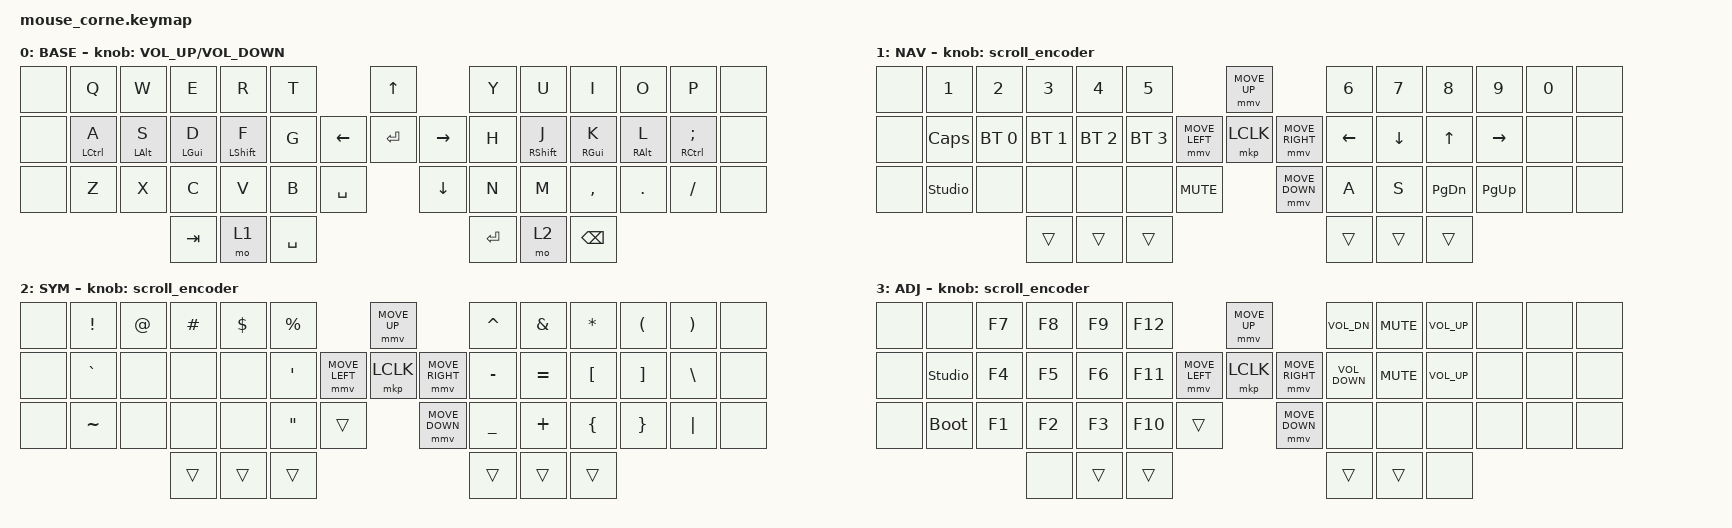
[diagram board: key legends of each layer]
#define ZMK_POINTING_DEFAULT_MOVE_VAL 1200  // 600
#define ZMK_POINTING_DEFAULT_SCRL_VAL 25   // 10

#include <input/processors.dtsi>
#include <zephyr/dt-bindings/input/input-event-codes.h>
#include <behaviors.dtsi>
#include <dt-bindings/zmk/bt.h>
#include <dt-bindings/zmk/keys.h>
#include <dt-bindings/zmk/pointing.h>

&mmv_input_listener { input-processors = <&zip_xy_scaler 2 1>; };

&msc_input_listener { input-processors = <&zip_scroll_scaler 2 1>; };

&msc {
    acceleration-exponent = <1>;      // 0
    time-to-max-speed-ms = <100>;       // 300
    delay-ms = <0>;                   // 0
};

&mmv {
    time-to-max-speed-ms = <500>;
    acceleration-exponent = <1>;
    trigger-period-ms = <16>;
};

/ {
    behaviors {
        lhr: left_hand_positional_hold_tap {
            compatible = "zmk,behavior-hold-tap";
            label = "LEFT_POSITIONAL_HOLD_TAP";
            #binding-cells = <2>;
            flavor = "balanced";
            tapping-term-ms = <250>;
            bindings = <&kp>, <&kp>;

            quick-tap-ms = <175>;
            require-prior-idle-ms = <125>;
            hold-trigger-key-positions = <17 16 15 14>;
            hold-trigger-on-release;
        };

        rhr: right_hand_positional_hold_tap {
            compatible = "zmk,behavior-hold-tap";
            label = "RIGHT_POSITIONAL_HOLD_TAP";
            #binding-cells = <2>;
            flavor = "tap-preferred";
            tapping-term-ms = <250>;
            bindings = <&kp>, <&kp>;

            quick-tap-ms = <175>;
            require-prior-idle-ms = <125>;
            hold-trigger-key-positions = <23 24 25 26>;
            hold-trigger-on-release;
        };

        sticky_quick_release: sticky_quick_release {
            compatible = "zmk,behavior-sticky-key";
            label = "STICKY_QUICK_RELEASE";
            bindings = <&sk>;
            #binding-cells = <1>;
            release-after-ms = <2000>;
            quick-release;
        };
    };

    scroll_encoder: scroll_encoder {
        compatible = "zmk,behavior-sensor-rotate";
        #sensor-binding-cells = <0>;
        bindings = <&msc SCRL_DOWN>, <&msc SCRL_UP>;

        tap-ms = <100>;
    };

    combos {
        compatible = "zmk,combos";

        combo_escape {
            bindings = <&kp ESC>;
            key-positions = <2 1>;
            layers = <0>;
        };

        combo_quick_fill {
            bindings = <&quick_fill>;
            key-positions = <4 5 7 8>;
            layers = <0>;
        };

        sticky_shift {
            bindings = <&sticky_quick_release LEFT_SHIFT>;
            key-positions = <42 47>;
        };
    };

    macros {
        quick_fill: quick_fill {
            compatible = "zmk,behavior-macro";
            #binding-cells = <0>;
            bindings = <&kp AT &kp M &kp T &kp H &kp E &kp LS(B) &kp E &kp S &kp T &kp N1 &kp N>;
            label = "quick_fill";
        };
    };

    keymap {
        compatible = "zmk,keymap";

        base {
            display-name = "BASE";
            bindings = <
&none  &kp Q                     &kp W                 &kp E                     &kp R                   &kp T                             &kp UP                &kp Y      &kp U                    &kp I             &kp O                  &kp P                      &none
&none  &lhr LEFT_CONTROL A  &lhr LEFT_ALT S  &lhr LGUI D  &lhr LEFT_SHIFT F  &kp G                   &kp LEFT  &kp ENTER  &kp RIGHT  &kp H      &rhr RIGHT_SHIFT J  &rhr RGUI K  &rhr RIGHT_ALT L  &rhr RCTRL SEMI   &none
&none  &kp Z                     &kp X                 &kp C                     &kp V                   &kp B      &kp SPACE              &kp DOWN              &kp N      &kp M                    &kp COMMA         &kp DOT                &kp FSLH                 &none
                                                       &kp TAB                   &mo 1                   &kp SPACE                                               &kp RET    &mo 2                    &kp BACKSPACE
            >;

            sensor-bindings = <&inc_dec_kp C_VOLUME_UP C_VOLUME_DOWN>;
        };

        nav {
            display-name = "NAV";
            bindings = <
&none  &kp N1        &kp N2  &kp N3  &kp N4             &kp N5                                       &mmv MOVE_UP                     &kp N6    &kp N7    &kp N8  &kp N9     &kp N0    &none
&none  &kp CAPSLOCK  &bt BT_SEL 0  &bt BT_SEL 1  &bt BT_SEL 2  &bt BT_SEL 3        &mmv MOVE_LEFT  &mkp LCLK       &mmv MOVE_RIGHT  &kp LEFT  &kp DOWN  &kp UP  &kp RIGHT  &none  &none
&none  &studio_unlock  &none   &none   &none            &none          &kp C_MUTE                    &mmv MOVE_DOWN                   &kp A     &kp S     &kp PAGE_DOWN   &kp PAGE_UP      &none     &none
                                      &trans  &trans     &trans                                                                        &trans    &trans    &trans
            >;

            sensor-bindings = <&scroll_encoder>;
        };

        sym {
            display-name = "SYM";
            bindings = <
&none  &kp EXCL   &kp AT  &kp HASH  &kp DLLR  &kp PRCNT                                    &mmv MOVE_UP                     &kp CARET  &kp AMPS   &kp ASTRK  &kp LPAR  &kp RPAR  &none
&none  &kp GRAVE  &none   &none     &none     &kp SQT                      &mmv MOVE_LEFT  &mkp LCLK       &mmv MOVE_RIGHT  &kp MINUS  &kp EQUAL  &kp LBKT   &kp RBKT  &kp BSLH  &none
&none  &kp TILDE  &none   &none     &none     &kp DOUBLE_QUOTES  &trans                    &mmv MOVE_DOWN                   &kp UNDER  &kp PLUS   &kp LBRC   &kp RBRC  &kp PIPE  &none
                          &trans    &trans    &trans                                                                        &trans     &trans     &trans
            >;

            sensor-bindings = <&scroll_encoder>;
        };

        adj {
            display-name = "ADJ";
            bindings = <
&none  &none      &kp F7  &kp F8  &kp F9  &kp F12               &mmv MOVE_UP         &kp C_VOL_DN       &kp C_MUTE      &kp C_VOL_UP       &none  &none  &none
&none  &studio_unlock  &kp F4  &kp F5  &kp F6  &kp F11  &mmv MOVE_LEFT  &mkp LCLK  &mmv MOVE_RIGHT  &kp C_VOLUME_DOWN  &kp K_MUTE  &kp C_VOLUME_UP  &none  &none  &none
&none  &bootloader   &kp F1  &kp F2  &kp F3  &kp F10   &trans         &mmv MOVE_DOWN       &none              &none       &none            &none  &none  &none
                                    &none  &trans   &trans                                                  &trans    &trans  &none
            >;

            sensor-bindings = <&scroll_encoder>;
            label = "ADJ";
        };
    };

    conditional_layers {
        compatible = "zmk,conditional-layers";

        raise_fn {
            if-layers = <1 2>;
            then-layer = <3>;
        };
    };
};
